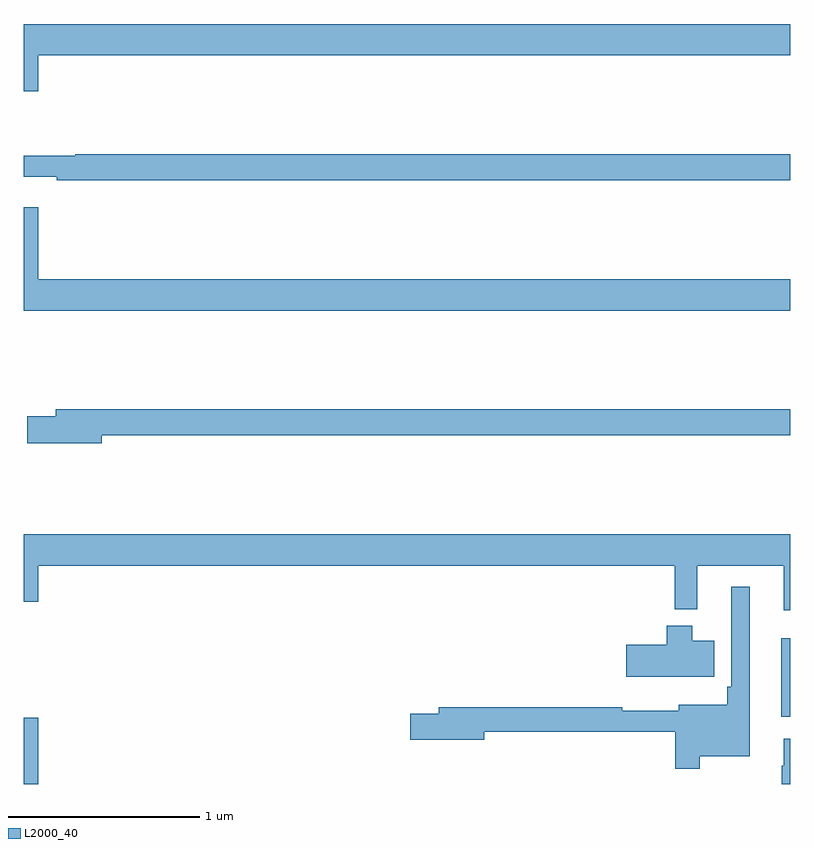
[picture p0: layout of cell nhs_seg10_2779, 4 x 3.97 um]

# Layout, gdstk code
import gdstk
lib = gdstk.Library(unit=1e-6, precision=1e-09)
def R(c, l, rs):  # rectangles x0, y0, x1, y1
    for r in rs: c.add(gdstk.rectangle(r[:2], r[2:], *l))
def P(c, l, *ps):  # polygons
    for p in ps: c.add(gdstk.Polygon(p, *l))
L2000_40 = (2000, 40)

nhs_seg10_2779 = lib.new_cell('nhs_seg10_2779')
R(nhs_seg10_2779, L2000_40, [(261,1308.5,261.076,1308.847), (264.953,1308.851,265,1309.261)])
P(nhs_seg10_2779, L2000_40, [(261.076,1312.304),(265,1312.304),(265,1312.468),(261,1312.468),(261,1312.116),(261.076,1312.116)],
  [(265,1311.788),(261.269,1311.788),(261.269,1311.781),(261,1311.781),(261,1311.671),(261.172,1311.671),(261.172,1311.652),(265,1311.652)],
  [(265,1311.136),(261.076,1311.136),(261.076,1311.511),(261,1311.511),(261,1310.972),(265,1310.972)],
  [(261.406,1310.32),(265,1310.32),(265,1310.456),(261.167,1310.456),(261.167,1310.42),(261.018,1310.42),(261.018,1310.278),(261.406,1310.278)],
  [(265,1309.804),(261,1309.804),(261,1309.452),(261.076,1309.452),(261.076,1309.64),(264.397,1309.64),(264.397,1309.412),(264.515,1309.412),(264.515,1309.64),(264.968,1309.64),(264.968,1309.407),(265,1309.407)],
  [(264.529,1308.644),(264.79,1308.644),(264.79,1309.531),(264.693,1309.531),(264.693,1309.009),(264.673,1309.009),(264.673,1308.913),(264.419,1308.913),(264.419,1308.883),(264.123,1308.883),(264.123,1308.902),(263.165,1308.902),(263.165,1308.866),(263.016,1308.866),(263.016,1308.731),(263.404,1308.731),(263.404,1308.774),(264.4,1308.774),(264.4,1308.579),(264.529,1308.579)],
  [(264.604,1309.249),(264.49,1309.249),(264.49,1309.327),(264.356,1309.327),(264.356,1309.227),(264.144,1309.227),(264.144,1309.061),(264.604,1309.061)],
  [(265,1308.736),(264.968,1308.736),(264.968,1308.596),(264.957,1308.596),(264.957,1308.5),(265,1308.5)])

lib.write_gds('nhs_seg10_2779.gds')
